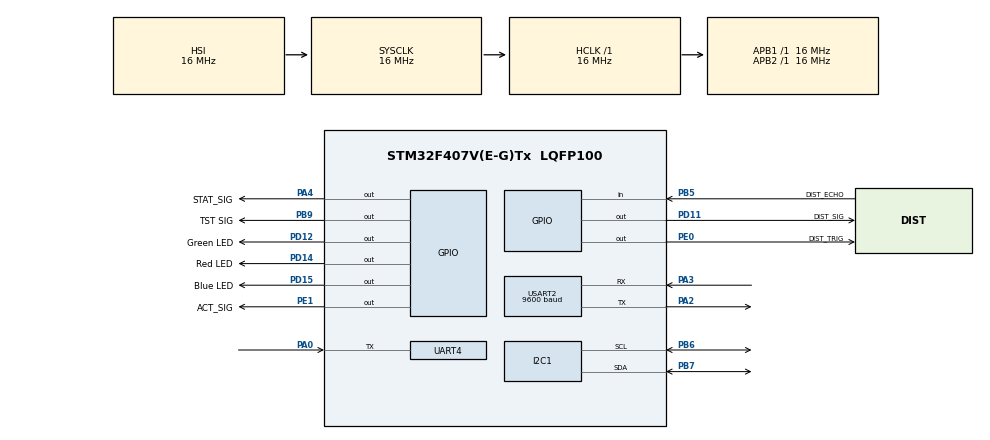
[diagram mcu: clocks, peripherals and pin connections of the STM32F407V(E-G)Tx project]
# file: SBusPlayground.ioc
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FREERTOS.BinarySemaphores01=SBusFrame,Dynamic,NULL;SBusPacket,Dynamic,NULL
FREERTOS.Mutexes01=i2cMutex,Dynamic,NULL
FREERTOS.Tasks01=defaultTask,8,256,StartDefaultTask,Default,NULL,Dynamic,NULL,NULL;flashBlue,8,256,StartFlashBlue,Default,NULL,Dynamic,NULL,NULL;parseSbus,24,512,StartParseSbus,Default,NULL,Dynamic,NULL,NULL;driveServo,16,1024,StartDriveServo,Default,NULL,Dynamic,NULL,NULL;driveEsc,16,512,StartDriveEsc,Default,NULL,Dynamic,NULL,NULL;senseDist,24,1024,StartSenseDist,Default,NULL,Dynamic,NULL,NULL
FREERTOS.configCHECK_FOR_STACK_OVERFLOW=2
FREERTOS.configGENERATE_RUN_TIME_STATS=1
FREERTOS.configUSE_STATS_FORMATTING_FUNCTIONS=1
Mcu.Family=STM32F4
Mcu.Name=STM32F407V(E-G)Tx
Mcu.Package=LQFP100
NVIC.PriorityGroup=NVIC_PRIORITYGROUP_4
NVIC.TIM1_UP_TIM10_IRQn=true\:0\:0\:false\:false\:true\:false\:false\:true
NVIC.TIM2_IRQn=true\:5\:0\:false\:false\:true\:true\:true\:false
NVIC.TimeBase=TIM1_UP_TIM10_IRQn
NVIC.TimeBaseIP=TIM1
NVIC.UART4_IRQn=true\:5\:0\:false\:false\:true\:true\:true\:false
PA0-WKUP.Mode=Half_duplex(single_wire_mode)
PA0-WKUP.Signal=UART4_TX
PA2.Mode=Asynchronous
PA2.Signal=USART2_TX
PA3.Mode=Asynchronous
PA3.Signal=USART2_RX
PA4.GPIO_Label=STAT_SIG
PA4.GPIO_Speed=GPIO_SPEED_FREQ_VERY_HIGH
PA4.Signal=GPIO_Output
PB5.GPIO_Label=DIST_ECHO
PB5.Signal=GPIO_Input
PB6.Mode=I2C
PB6.Signal=I2C1_SCL
PB7.Mode=I2C
PB7.Signal=I2C1_SDA
PB9.GPIO_Label=TST SIG
PB9.GPIO_Speed=GPIO_SPEED_FREQ_VERY_HIGH
PB9.Signal=GPIO_Output
PD11.GPIO_Label=DIST_SIG
PD11.GPIO_Speed=GPIO_SPEED_FREQ_VERY_HIGH
PD11.Signal=GPIO_Output
PD12.GPIO_Label=Green LED
PD12.Signal=GPIO_Output
PD14.GPIO_Label=Red LED
PD14.Signal=GPIO_Output
PD15.GPIO_Label=Blue LED
PD15.Signal=GPIO_Output
PE0.GPIO_Label=DIST_TRIG
PE0.GPIO_Speed=GPIO_SPEED_FREQ_LOW
PE0.Signal=GPIO_Output
PE1.GPIO_Label=ACT_SIG
PE1.GPIO_Speed=GPIO_SPEED_FREQ_VERY_HIGH
PE1.Signal=GPIO_Output
ProjectManager.HeapSize=0x200
ProjectManager.StackSize=0x400
ProjectManager.TargetToolchain=SW4STM32
RCC.AHBFreq_Value=16000000
RCC.APB1Freq_Value=16000000
RCC.APB2Freq_Value=16000000
RCC.CortexFreq_Value=16000000
RCC.HSE_VALUE=25000000
RCC.HSI_VALUE=16000000
RCC.LSE_VALUE=32768
RCC.SYSCLKFreq_VALUE=16000000
RCC.VCOOutputFreq_Value=192000000
TIM2.Period=19999
TIM2.Prescaler=15
UART4.BaudRate=100000
UART4.Mode=MODE_RX
UART4.OverSampling=UART_OVERSAMPLING_16
UART4.Parity=PARITY_EVEN
UART4.StopBits=UART_STOPBITS_2
UART4.VirtualMode=Asynchronous
UART4.WordLength=WORDLENGTH_9B
USART2.BaudRate=9600
USART2.VirtualMode=VM_ASYNC
VP_FREERTOS_VS_CMSIS_V2.Mode=CMSIS_V2
VP_SYS_VS_tim1.Mode=TIM1
VP_TIM2_VS_ClockSourceINT.Mode=Internal
board=custom

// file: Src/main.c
/* USER CODE BEGIN Header */
/**
  ******************************************************************************
  * @file           : main.c
  * @brief          : Main program body
  ******************************************************************************
  * @attention
  *
  * <h2><center>&copy; Copyright (c) 2019 STMicroelectronics.
  * All rights reserved.</center></h2>
  *
  * This software component is licensed by ST under Ultimate Liberty license
  * SLA0044, the "License"; You may not use this file except in compliance with
  * the License. You may obtain a copy of the License at:
  *                             www.st.com/SLA0044
  *
  ******************************************************************************
  */
/* USER CODE END Header */

#include "main.h"
#include "cmsis_os.h"

/* USER CODE BEGIN Includes */
#include <stdio.h>
#include <string.h>

#include "FreeRTOS.h"
#include "task.h"

#include "pca9685.h"
#include "utils.h"
#include "sbus.h"
/* USER CODE END Includes */

I2C_HandleTypeDef hi2c1;

TIM_HandleTypeDef htim2;

UART_HandleTypeDef huart4;
UART_HandleTypeDef huart2;

osThreadId_t defaultTaskHandle;
osThreadId_t flashBlueHandle;
osThreadId_t parseSbusHandle;
osThreadId_t driveServoHandle;
osThreadId_t driveEscHandle;
osThreadId_t senseDistHandle;
osMutexId_t i2cMutexHandle;
osSemaphoreId_t SBusFrameHandle;
osSemaphoreId_t SBusPacketHandle;
/* USER CODE BEGIN PV */
osEventFlagsId_t SBusPacketEvtHandle;
static char buff[40 * 6];
static uint32_t start;
static uint32_t end;
static float dists[10] = {0.0f};
static uint8_t distIndex = 0U;
static float distAvg = 0.0f;
/* USER CODE END PV */

void SystemClock_Config(void);
static void MX_GPIO_Init(void);
static void MX_UART4_Init(void);
static void MX_I2C1_Init(void);
static void MX_TIM2_Init(void);
static void MX_USART2_UART_Init(void);
void StartDefaultTask(void *argument);
void StartFlashBlue(void *argument);
void StartParseSbus(void *argument);
void StartDriveServo(void *argument);
void StartDriveEsc(void *argument);
void StartSenseDist(void *argument);

int main(void)
{

  /* MCU Configuration--------------------------------------------------------*/

  /* Reset of all peripherals, Initializes the Flash interface and the Systick. */
  HAL_Init();

  /* Configure the system clock */
  SystemClock_Config();

  /* Initialize all configured peripherals */
  MX_GPIO_Init();
  MX_UART4_Init();
  MX_I2C1_Init();
  MX_TIM2_Init();
  MX_USART2_UART_Init();
  /* USER CODE BEGIN 2 */
    sprintf(buff, "Hi there \r\n");
    HAL_UART_Transmit(&huart2, (uint8_t *)buff, strlen(buff), 5000);
  /* USER CODE END 2 */

  osKernelInitialize();

  /* Create the mutex(es) */
  /* definition and creation of i2cMutex */
  const osMutexAttr_t i2cMutex_attributes = {
    .name = "i2cMutex"
  };
  i2cMutexHandle = osMutexNew(&i2cMutex_attributes);

  /* USER CODE BEGIN RTOS_MUTEX */
  /* add mutexes, ... */
  SBusPacketEvtHandle = osEventFlagsNew(NULL);
  /* USER CODE END RTOS_MUTEX */

  /* Create the semaphores(s) */
  /* definition and creation of SBusFrame */
  const osSemaphoreAttr_t SBusFrame_attributes = {
    .name = "SBusFrame"
  };
  SBusFrameHandle = osSemaphoreNew(1, 1, &SBusFrame_attributes);

  /* definition and creation of SBusPacket */
  const osSemaphoreAttr_t SBusPacket_attributes = {
    .name = "SBusPacket"
  };
  SBusPacketHandle = osSemaphoreNew(1, 1, &SBusPacket_attributes);

  /* Create the thread(s) */
  /* definition and creation of defaultTask */
  const osThreadAttr_t defaultTask_attributes = {
    .name = "defaultTask",
    .priority = (osPriority_t) osPriorityLow,
    .stack_size = 256
  };
  defaultTaskHandle = osThreadNew(StartDefaultTask, NULL, &defaultTask_attributes);

  /* definition and creation of flashBlue */
  const osThreadAttr_t flashBlue_attributes = {
    .name = "flashBlue",
    .priority = (osPriority_t) osPriorityLow,
    .stack_size = 256
  };
  flashBlueHandle = osThreadNew(StartFlashBlue, NULL, &flashBlue_attributes);

  /* definition and creation of parseSbus */
  const osThreadAttr_t parseSbus_attributes = {
    .name = "parseSbus",
    .priority = (osPriority_t) osPriorityNormal,
    .stack_size = 512
  };
  parseSbusHandle = osThreadNew(StartParseSbus, NULL, &parseSbus_attributes);

  /* definition and creation of driveServo */
  const osThreadAttr_t driveServo_attributes = {
    .name = "driveServo",
    .priority = (osPriority_t) osPriorityBelowNormal,
    .stack_size = 1024
  };
  driveServoHandle = osThreadNew(StartDriveServo, NULL, &driveServo_attributes);

  /* definition and creation of driveEsc */
  const osThreadAttr_t driveEsc_attributes = {
    .name = "driveEsc",
    .priority = (osPriority_t) osPriorityBelowNormal,
    .stack_size = 512
  };
  driveEscHandle = osThreadNew(StartDriveEsc, NULL, &driveEsc_attributes);

  /* definition and creation of senseDist */
  const osThreadAttr_t senseDist_attributes = {
    .name = "senseDist",
    .priority = (osPriority_t) osPriorityNormal,
    .stack_size = 1024
  };
  senseDistHandle = osThreadNew(StartSenseDist, NULL, &senseDist_attributes);

  /* Start scheduler */
  osKernelStart();

  /* We should never get here as control is now taken by the scheduler */

  /* Infinite loop */
  /* USER CODE BEGIN WHILE */
#pragma clang diagnostic push
#pragma clang diagnostic ignored "-Wmissing-noreturn"
  while (1)
  {
    /* USER CODE END WHILE */

    /* USER CODE BEGIN 3 */
  }
#pragma clang diagnostic pop
  /* USER CODE END 3 */
}

void SystemClock_Config(void)
{
  RCC_OscInitTypeDef RCC_OscInitStruct = {0};
  RCC_ClkInitTypeDef RCC_ClkInitStruct = {0};

  /** Configure the main internal regulator output voltage
  */
  __HAL_RCC_PWR_CLK_ENABLE();
  __HAL_PWR_VOLTAGESCALING_CONFIG(PWR_REGULATOR_VOLTAGE_SCALE1);
  /** Initializes the CPU, AHB and APB busses clocks
  */
  RCC_OscInitStruct.OscillatorType = RCC_OSCILLATORTYPE_HSI;
  RCC_OscInitStruct.HSIState = RCC_HSI_ON;
  RCC_OscInitStruct.HSICalibrationValue = RCC_HSICALIBRATION_DEFAULT;
  RCC_OscInitStruct.PLL.PLLState = RCC_PLL_NONE;
  if (HAL_RCC_OscConfig(&RCC_OscInitStruct) != HAL_OK)
  {
    Error_Handler();
  }
  /** Initializes the CPU, AHB and APB busses clocks
  */
  RCC_ClkInitStruct.ClockType = RCC_CLOCKTYPE_HCLK|RCC_CLOCKTYPE_SYSCLK
                              |RCC_CLOCKTYPE_PCLK1|RCC_CLOCKTYPE_PCLK2;
  RCC_ClkInitStruct.SYSCLKSource = RCC_SYSCLKSOURCE_HSI;
  RCC_ClkInitStruct.AHBCLKDivider = RCC_SYSCLK_DIV1;
  RCC_ClkInitStruct.APB1CLKDivider = RCC_HCLK_DIV1;
  RCC_ClkInitStruct.APB2CLKDivider = RCC_HCLK_DIV1;

  if (HAL_RCC_ClockConfig(&RCC_ClkInitStruct, FLASH_LATENCY_0) != HAL_OK)
  {
    Error_Handler();
  }
}

static void MX_I2C1_Init(void)
{

  hi2c1.Instance = I2C1;
  hi2c1.Init.ClockSpeed = 100000;
  hi2c1.Init.DutyCycle = I2C_DUTYCYCLE_2;
  hi2c1.Init.OwnAddress1 = 0;
  hi2c1.Init.AddressingMode = I2C_ADDRESSINGMODE_7BIT;
  hi2c1.Init.DualAddressMode = I2C_DUALADDRESS_DISABLE;
  hi2c1.Init.OwnAddress2 = 0;
  hi2c1.Init.GeneralCallMode = I2C_GENERALCALL_DISABLE;
  hi2c1.Init.NoStretchMode = I2C_NOSTRETCH_DISABLE;
  if (HAL_I2C_Init(&hi2c1) != HAL_OK)
  {
    Error_Handler();
  }

}

static void MX_TIM2_Init(void)
{

  TIM_ClockConfigTypeDef sClockSourceConfig = {0};
  TIM_MasterConfigTypeDef sMasterConfig = {0};

  htim2.Instance = TIM2;
  htim2.Init.Prescaler = 15;
  htim2.Init.CounterMode = TIM_COUNTERMODE_UP;
  htim2.Init.Period = 19999;
  htim2.Init.ClockDivision = TIM_CLOCKDIVISION_DIV1;
  htim2.Init.AutoReloadPreload = TIM_AUTORELOAD_PRELOAD_DISABLE;
  if (HAL_TIM_Base_Init(&htim2) != HAL_OK)
  {
    Error_Handler();
  }
  sClockSourceConfig.ClockSource = TIM_CLOCKSOURCE_INTERNAL;
  if (HAL_TIM_ConfigClockSource(&htim2, &sClockSourceConfig) != HAL_OK)
  {
    Error_Handler();
  }
  sMasterConfig.MasterOutputTrigger = TIM_TRGO_RESET;
  sMasterConfig.MasterSlaveMode = TIM_MASTERSLAVEMODE_DISABLE;
  if (HAL_TIMEx_MasterConfigSynchronization(&htim2, &sMasterConfig) != HAL_OK)
  {
    Error_Handler();
  }

}

static void MX_UART4_Init(void)
{

  huart4.Instance = UART4;
  huart4.Init.BaudRate = 100000;
  huart4.Init.WordLength = UART_WORDLENGTH_9B;
  huart4.Init.StopBits = UART_STOPBITS_2;
  huart4.Init.Parity = UART_PARITY_EVEN;
  huart4.Init.Mode = UART_MODE_RX;
  huart4.Init.HwFlowCtl = UART_HWCONTROL_NONE;
  huart4.Init.OverSampling = UART_OVERSAMPLING_16;
  if (HAL_HalfDuplex_Init(&huart4) != HAL_OK)
  {
    Error_Handler();
  }

}

static void MX_USART2_UART_Init(void)
{

  huart2.Instance = USART2;
  huart2.Init.BaudRate = 9600;
  huart2.Init.WordLength = UART_WORDLENGTH_8B;
  huart2.Init.StopBits = UART_STOPBITS_1;
  huart2.Init.Parity = UART_PARITY_NONE;
  huart2.Init.Mode = UART_MODE_TX_RX;
  huart2.Init.HwFlowCtl = UART_HWCONTROL_NONE;
  huart2.Init.OverSampling = UART_OVERSAMPLING_16;
  if (HAL_UART_Init(&huart2) != HAL_OK)
  {
    Error_Handler();
  }

}

static void MX_GPIO_Init(void)
{
  GPIO_InitTypeDef GPIO_InitStruct = {0};

  /* GPIO Ports Clock Enable */
  __HAL_RCC_GPIOA_CLK_ENABLE();
  __HAL_RCC_GPIOD_CLK_ENABLE();
  __HAL_RCC_GPIOB_CLK_ENABLE();
  __HAL_RCC_GPIOE_CLK_ENABLE();

  /*Configure GPIO pin Output Level */
  HAL_GPIO_WritePin(STAT_SIG_GPIO_Port, STAT_SIG_Pin, GPIO_PIN_RESET);

  /*Configure GPIO pin Output Level */
  HAL_GPIO_WritePin(GPIOD, DIST_SIG_Pin|Green_LED_Pin|Red_LED_Pin|Blue_LED_Pin, GPIO_PIN_RESET);

  /*Configure GPIO pin Output Level */
  HAL_GPIO_WritePin(TST_SIG_GPIO_Port, TST_SIG_Pin, GPIO_PIN_RESET);

  /*Configure GPIO pin Output Level */
  HAL_GPIO_WritePin(GPIOE, DIST_TRIG_Pin|ACT_SIG_Pin, GPIO_PIN_RESET);

  /*Configure GPIO pin : STAT_SIG_Pin */
  GPIO_InitStruct.Pin = STAT_SIG_Pin;
  GPIO_InitStruct.Mode = GPIO_MODE_OUTPUT_PP;
  GPIO_InitStruct.Pull = GPIO_NOPULL;
  GPIO_InitStruct.Speed = GPIO_SPEED_FREQ_VERY_HIGH;
  HAL_GPIO_Init(STAT_SIG_GPIO_Port, &GPIO_InitStruct);

  /*Configure GPIO pin : DIST_SIG_Pin */
  GPIO_InitStruct.Pin = DIST_SIG_Pin;
  GPIO_InitStruct.Mode = GPIO_MODE_OUTPUT_PP;
  GPIO_InitStruct.Pull = GPIO_NOPULL;
  GPIO_InitStruct.Speed = GPIO_SPEED_FREQ_VERY_HIGH;
  HAL_GPIO_Init(DIST_SIG_GPIO_Port, &GPIO_InitStruct);

  /*Configure GPIO pins : Green_LED_Pin Red_LED_Pin Blue_LED_Pin */
  GPIO_InitStruct.Pin = Green_LED_Pin|Red_LED_Pin|Blue_LED_Pin;
  GPIO_InitStruct.Mode = GPIO_MODE_OUTPUT_PP;
  GPIO_InitStruct.Pull = GPIO_NOPULL;
  GPIO_InitStruct.Speed = GPIO_SPEED_FREQ_LOW;
  HAL_GPIO_Init(GPIOD, &GPIO_InitStruct);

  /*Configure GPIO pin : DIST_ECHO_Pin */
  GPIO_InitStruct.Pin = DIST_ECHO_Pin;
  GPIO_InitStruct.Mode = GPIO_MODE_INPUT;
  GPIO_InitStruct.Pull = GPIO_NOPULL;
  HAL_GPIO_Init(DIST_ECHO_GPIO_Port, &GPIO_InitStruct);

  /*Configure GPIO pin : TST_SIG_Pin */
  GPIO_InitStruct.Pin = TST_SIG_Pin;
  GPIO_InitStruct.Mode = GPIO_MODE_OUTPUT_PP;
  GPIO_InitStruct.Pull = GPIO_NOPULL;
  GPIO_InitStruct.Speed = GPIO_SPEED_FREQ_VERY_HIGH;
  HAL_GPIO_Init(TST_SIG_GPIO_Port, &GPIO_InitStruct);

  /*Configure GPIO pin : DIST_TRIG_Pin */
  GPIO_InitStruct.Pin = DIST_TRIG_Pin;
  GPIO_InitStruct.Mode = GPIO_MODE_OUTPUT_PP;
  GPIO_InitStruct.Pull = GPIO_NOPULL;
  GPIO_InitStruct.Speed = GPIO_SPEED_FREQ_LOW;
  HAL_GPIO_Init(DIST_TRIG_GPIO_Port, &GPIO_InitStruct);

  /*Configure GPIO pin : ACT_SIG_Pin */
  GPIO_InitStruct.Pin = ACT_SIG_Pin;
  GPIO_InitStruct.Mode = GPIO_MODE_OUTPUT_PP;
  GPIO_InitStruct.Pull = GPIO_NOPULL;
  GPIO_InitStruct.Speed = GPIO_SPEED_FREQ_VERY_HIGH;
  HAL_GPIO_Init(ACT_SIG_GPIO_Port, &GPIO_InitStruct);

}

/* USER CODE BEGIN 4 */
uint8_t something = 0U;
void vApplicationStackOverflowHook(xTaskHandle xTask, signed char *pcTaskName) {
    something = 1U;
    something = 2U;
}
/* USER CODE END 4 */

void StartDefaultTask(void *argument)
{
  /* USER CODE BEGIN 5 */
  /* Infinite loop */
#pragma clang diagnostic push
#pragma clang diagnostic ignored "-Wmissing-noreturn"
  for(;;)
  {
    osDelay(1);
  }
#pragma clang diagnostic pop
  /* USER CODE END 5 */
}

void StartFlashBlue(void *argument)
{
  /* USER CODE BEGIN StartFlashBlue */
  /* Infinite loop */
#pragma clang diagnostic push
#pragma clang diagnostic ignored "-Wmissing-noreturn"
  for(;;)
  {
    HAL_GPIO_TogglePin(Blue_LED_GPIO_Port, Blue_LED_Pin);
    osDelay(100 / (portTICK_RATE_MS));
  }
#pragma clang diagnostic pop
  /* USER CODE END StartFlashBlue */
}

void StartParseSbus(void *argument)
{
  /* USER CODE BEGIN StartParseSbus */
  PCA9685_Reset(&hi2c1);
  PCA9685_SetPWMFreq(&hi2c1, 60.0f);
  osSemaphoreAcquire(SBusFrameHandle, 0U);

  /* Infinite loop */
#pragma clang diagnostic push
#pragma clang diagnostic ignored "-Wmissing-noreturn"
  for(;;)
  {
    HAL_GPIO_WritePin(TST_SIG_GPIO_Port, TST_SIG_Pin, GPIO_PIN_RESET);
    osSemaphoreAcquire(SBusFrameHandle, osWaitForever);
    HAL_GPIO_WritePin(TST_SIG_GPIO_Port, TST_SIG_Pin, GPIO_PIN_SET);

    SBus_DecodeFrame();
//    osSemaphoreRelease(SBusPacketHandle);
    osEventFlagsSet(SBusPacketEvtHandle, 0x00000001U);

  }
#pragma clang diagnostic pop
  /* USER CODE END StartParseSbus */
}

void StartDriveServo(void *argument)
{
  /* USER CODE BEGIN StartDriveServo */
  /* Infinite loop */
#pragma clang diagnostic push
#pragma clang diagnostic ignored "-Wmissing-noreturn"
  for(;;)
  {
//    osSemaphoreAcquire(SBusPacketHandle, osWaitForever);
//    HAL_GPIO_WritePin(Red_LED_GPIO_Port, Red_LED_Pin, GPIO_PIN_RESET);
//    osEventFlagsWait(SBusPacketEvtHandle, 0x00000001U, osFlagsWaitAny, osWaitForever);
//    HAL_GPIO_WritePin(Red_LED_GPIO_Port, Red_LED_Pin, GPIO_PIN_SET);
//    uint16_t val = SBus_GetChannel(1U);
//    val = sbusToPwm(val);
//    osMutexAcquire(i2cMutexHandle, osWaitForever);
//    PCA9685_SetPWM(&hi2c1, STEER_SERVO_PIN, 0, val);
//    osMutexRelease(i2cMutexHandle);

    HAL_GPIO_WritePin(STAT_SIG_GPIO_Port, STAT_SIG_Pin, GPIO_PIN_SET);
    sprintf(buff, "\r\nTask           \tAbs Time\t%% Time\r\n****************************************\r\n");
    HAL_UART_Transmit(&huart2, (uint8_t *)buff, strlen(buff), 5000);
    vTaskGetRunTimeStats(buff);
//    sprintf(buff, "Hi there \r\n");
    HAL_UART_Transmit(&huart2, (uint8_t *)buff, strlen(buff), 5000);
      HAL_GPIO_WritePin(STAT_SIG_GPIO_Port, STAT_SIG_Pin, GPIO_PIN_RESET);
    osDelay(5000 / (portTICK_RATE_MS));
  }
#pragma clang diagnostic pop
  /* USER CODE END StartDriveServo */
}

void StartDriveEsc(void *argument)
{
  /* USER CODE BEGIN StartDriveEsc */
  /* Infinite loop */
#pragma clang diagnostic push
#pragma clang diagnostic ignored "-Wmissing-noreturn"
  for(;;)
  {
    HAL_GPIO_WritePin(ACT_SIG_GPIO_Port, ACT_SIG_Pin, GPIO_PIN_RESET);
    osEventFlagsWait(SBusPacketEvtHandle, 0x00000001U, osFlagsWaitAny, osWaitForever);
      HAL_GPIO_WritePin(ACT_SIG_GPIO_Port, ACT_SIG_Pin, GPIO_PIN_SET);
//    HAL_GPIO_WritePin(Green_LED_GPIO_Port, Green_LED_Pin, GPIO_PIN_SET);
    uint16_t val = SBus_GetChannel(0U);
    val = sbusToPwm(val);
//    osMutexAcquire(i2cMutexHandle, osWaitForever);
    PCA9685_SetPWM(&hi2c1, DRIVE_ESC_PIN, 0, val);
//    osMutexRelease(i2cMutexHandle);

      val = SBus_GetChannel(1U);
      val = sbusToPwm(val);
//    osMutexAcquire(i2cMutexHandle, osWaitForever);
      PCA9685_SetPWM(&hi2c1, STEER_SERVO_PIN, 0, val);
  }
#pragma clang diagnostic pop
  /* USER CODE END StartDriveEsc */
}

void StartSenseDist(void *argument)
{
  /* USER CODE BEGIN StartSenseDist */
  /* Infinite loop */
#pragma clang diagnostic push
#pragma clang diagnostic ignored "-Wmissing-noreturn"
  for(;;)
  {

//      osDelay(100 / (portTICK_RATE_MS));
    HAL_GPIO_WritePin(DIST_SIG_GPIO_Port, DIST_SIG_Pin, GPIO_PIN_SET);

    HAL_GPIO_WritePin(DIST_TRIG_GPIO_Port, DIST_TRIG_Pin, GPIO_PIN_SET);
    delayUs(10);
      HAL_GPIO_WritePin(DIST_TRIG_GPIO_Port, DIST_TRIG_Pin, GPIO_PIN_RESET);

    start = getRunTimeCounterValue();
    while (HAL_GPIO_ReadPin(DIST_ECHO_GPIO_Port, DIST_ECHO_Pin) == GPIO_PIN_RESET) {
        if (getRunTimeCounterValue() - start > 10000) {
            break;
        }
    };
//    start = __HAL_TIM_GET_COUNTER(&htim2);
    start = getRunTimeCounterValue();
    while (HAL_GPIO_ReadPin(DIST_ECHO_GPIO_Port, DIST_ECHO_Pin) == GPIO_PIN_SET) {
        if (getRunTimeCounterValue() - start > 10000) {
            break;
        }
    }
//    end = __HAL_TIM_GET_COUNTER(&htim2);
    end = getRunTimeCounterValue();

    dists[distIndex] = (float)(end - start) / 58.0f;
    distIndex = (distIndex + 1) % 10;
    distAvg = (dists[0U] + dists[1U] + dists[2U] + dists[3U] + dists[4U]
            + dists[5U] + dists[6U] + dists[7U] + dists[8U] + dists[9U]) / 10;

    if (distAvg < 30.0f) {
      HAL_GPIO_WritePin(Green_LED_GPIO_Port, Green_LED_Pin, GPIO_PIN_RESET);
      HAL_GPIO_WritePin(Red_LED_GPIO_Port, Red_LED_Pin, GPIO_PIN_SET);
    } else {
      HAL_GPIO_WritePin(Green_LED_GPIO_Port, Green_LED_Pin, GPIO_PIN_SET);
      HAL_GPIO_WritePin(Red_LED_GPIO_Port, Red_LED_Pin, GPIO_PIN_RESET);
    }

    HAL_GPIO_WritePin(DIST_SIG_GPIO_Port, DIST_SIG_Pin, GPIO_PIN_RESET);
    osDelay(60 / (portTICK_RATE_MS));
  }
#pragma clang diagnostic pop
  /* USER CODE END StartSenseDist */
}

void HAL_TIM_PeriodElapsedCallback(TIM_HandleTypeDef *htim)
{
  if (htim->Instance == TIM1) {
    HAL_IncTick();
  }
}

void Error_Handler(void)
{
}

/************************ (C) COPYRIGHT STMicroelectronics *****END OF FILE****/

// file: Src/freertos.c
/* USER CODE BEGIN Header */
/**
  ******************************************************************************
  * File Name          : freertos.c
  * Description        : Code for freertos applications
  ******************************************************************************
  * @attention
  *
  * <h2><center>&copy; Copyright (c) 2019 STMicroelectronics.
  * All rights reserved.</center></h2>
  *
  * This software component is licensed by ST under Ultimate Liberty license
  * SLA0044, the "License"; You may not use this file except in compliance with
  * the License. You may obtain a copy of the License at:
  *                             www.st.com/SLA0044
  *
  ******************************************************************************
  */
/* USER CODE END Header */

#include "FreeRTOS.h"
#include "task.h"
#include "main.h"

/* Hook prototypes */
void configureTimerForRunTimeStats(void);
unsigned long getRunTimeCounterValue(void);
void vApplicationStackOverflowHook(xTaskHandle xTask, signed char *pcTaskName);

/* USER CODE BEGIN 1 */
/* Functions needed when configGENERATE_RUN_TIME_STATS is on */
__weak void configureTimerForRunTimeStats(void)
{

}

__weak unsigned long getRunTimeCounterValue(void)
{
return 0;
}
/* USER CODE END 1 */

/* USER CODE BEGIN 4 */
__weak void vApplicationStackOverflowHook(xTaskHandle xTask, signed char *pcTaskName)
{
   /* Run time stack overflow checking is performed if
   configCHECK_FOR_STACK_OVERFLOW is defined to 1 or 2. This hook function is
   called if a stack overflow is detected. */
}
/* USER CODE END 4 */

/************************ (C) COPYRIGHT STMicroelectronics *****END OF FILE****/
